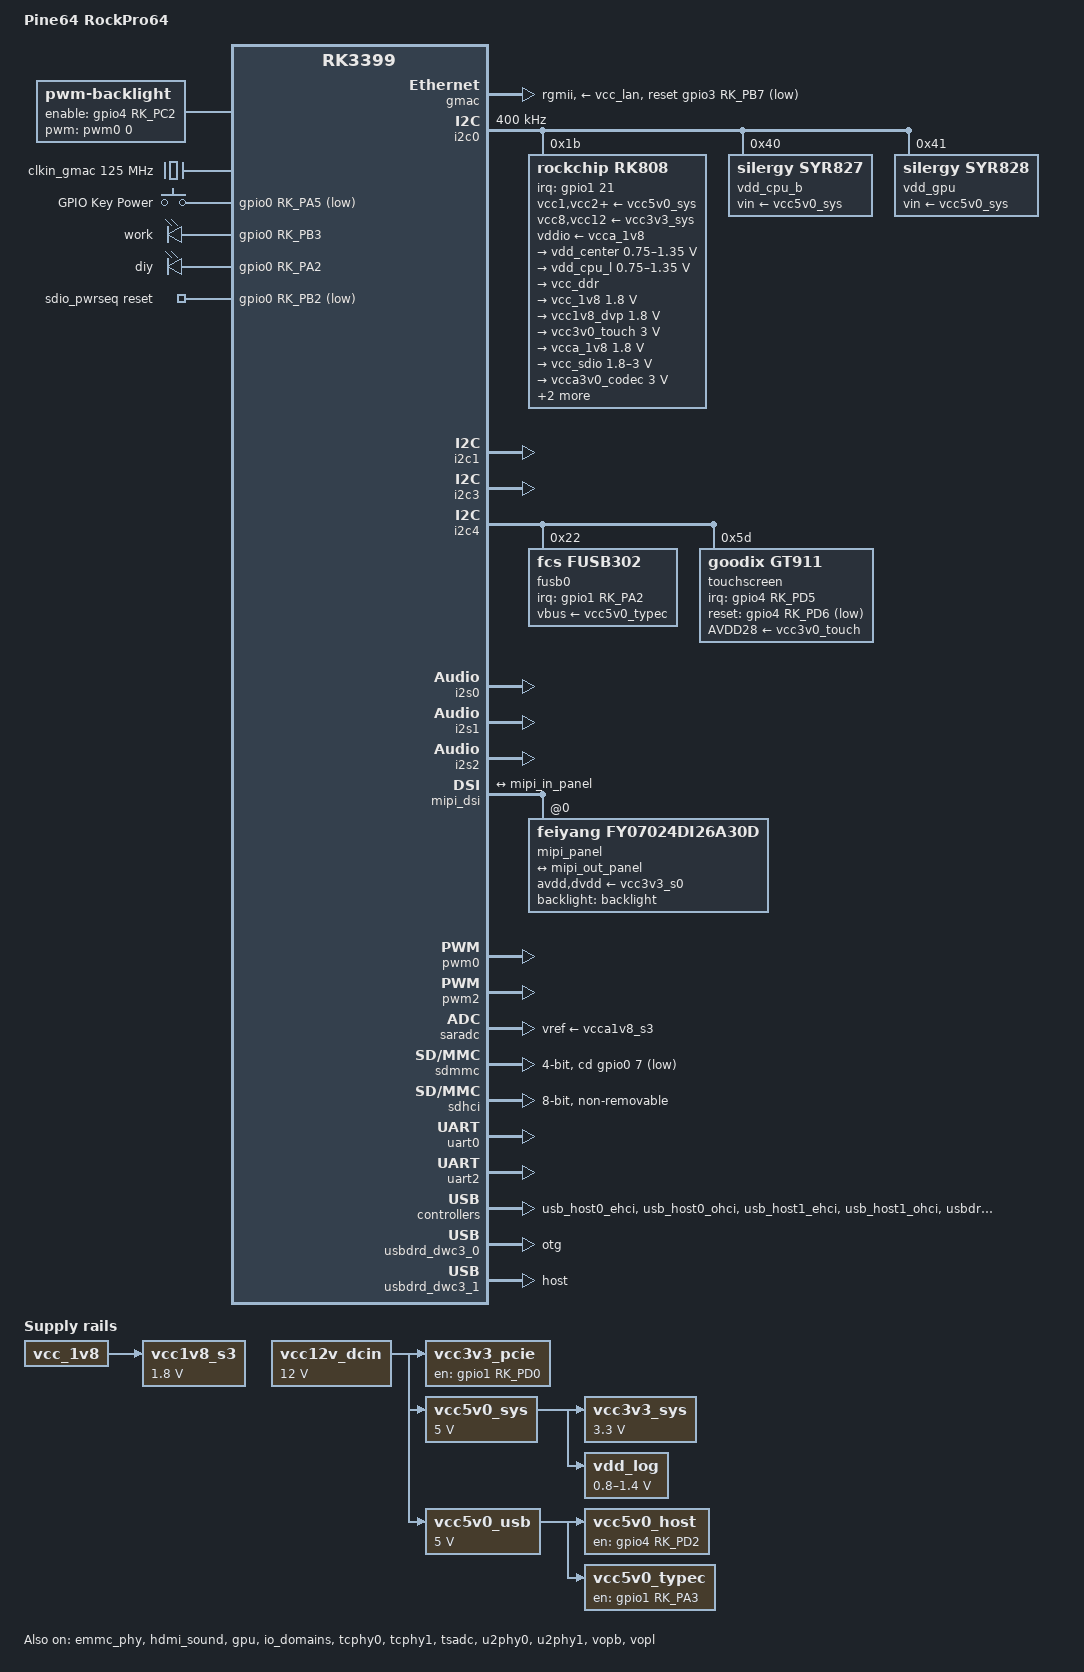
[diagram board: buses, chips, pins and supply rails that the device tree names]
// SPDX-License-Identifier: (GPL-2.0+ OR MIT)
/*
 * Copyright (c) 2017 Fuzhou Rockchip Electronics Co., Ltd.
 * Copyright (c) 2018 Akash Gajjar <Akash_Gajjar@mentor.com>
 */

/dts-v1/;
#include <dt-bindings/input/linux-event-codes.h>
#include <dt-bindings/pwm/pwm.h>
#include "rk3399.dtsi"
#include "rk3399-opp.dtsi"

/ {
	model = "Pine64 RockPro64";
	compatible = "pine64,rockpro64", "rockchip,rk3399";

	chosen {
		stdout-path = "serial2:1500000n8";
	};

	backlight: backlight {
		compatible = "pwm-backlight";
		brightness-levels = <0x0 0x1 0x2 0x3 0x4 0x5 0x6 0x7 0x8 0x9 0xa 0xb 0xc 0xd 0xe 0xf 0x10 0x11 0x12 0x13 0x14 0x15 0x16 0x17 0x18 0x19 0x1a 0x1b 0x1c 0x1d 0x1e 0x1f 0x20 0x21 0x22 0x23 0x24 0x25 0x26 0x27 0x28 0x29 0x2a 0x2b 0x2c 0x2d 0x2e 0x2f 0x30 0x31 0x32 0x33 0x34 0x35 0x36 0x37 0x38 0x39 0x3a 0x3b 0x3c 0x3d 0x3e 0x3f 0x40 0x41 0x42 0x43 0x44 0x45 0x46 0x47 0x48 0x49 0x4a 0x4b 0x4c 0x4d 0x4e 0x4f 0x50 0x51 0x52 0x53 0x54 0x55 0x56 0x57 0x58 0x59 0x5a 0x5b 0x5c 0x5d 0x5e 0x5f 0x60 0x61 0x62 0x63 0x64 0x65 0x66 0x67 0x68 0x69 0x6a 0x6b 0x6c 0x6d 0x6e 0x6f 0x70 0x71 0x72 0x73 0x74 0x75 0x76 0x77 0x78 0x79 0x7a 0x7b 0x7c 0x7d 0x7e 0x7f 0x80 0x81 0x82 0x83 0x84 0x85 0x86 0x87 0x88 0x89 0x8a 0x8b 0x8c 0x8d 0x8e 0x8f 0x90 0x91 0x92 0x93 0x94 0x95 0x96 0x97 0x98 0x99 0x9a 0x9b 0x9c 0x9d 0x9e 0x9f 0xa0 0xa1 0xa2 0xa3 0xa4 0xa5 0xa6 0xa7 0xa8 0xa9 0xaa 0xab 0xac 0xad 0xae 0xaf 0xb0 0xb1 0xb2 0xb3 0xb4 0xb5 0xb6 0xb7 0xb8 0xb9 0xba 0xbb 0xbc 0xbd 0xbe 0xbf 0xc0 0xc1 0xc2 0xc3 0xc4 0xc5 0xc6 0xc7 0xc8 0xc9 0xca 0xcb 0xcc 0xcd 0xce 0xcf 0xd0 0xd1 0xd2 0xd3 0xd4 0xd5 0xd6 0xd7 0xd8 0xd9 0xda 0xdb 0xdc 0xdd 0xde 0xdf 0xe0 0xe1 0xe2 0xe3 0xe4 0xe5 0xe6 0xe7 0xe8 0xe9 0xea 0xeb 0xec 0xed 0xee 0xef 0xf0 0xf1 0xf2 0xf3 0xf4 0xf5 0xf6 0xf7 0xf8 0xf9 0xfa 0xfb 0xfc 0xfd 0xfe 0xff>;
		default-brightness-level = <0xc8>;
		enable-gpios = <&gpio4 RK_PC2 GPIO_ACTIVE_HIGH>; /* LCD_BL_PWM: GPIO4_C2 */
		pwms = <&pwm0 0 25000 0>;
		status = "okay";
	};

	clkin_gmac: external-gmac-clock {
		compatible = "fixed-clock";
		clock-frequency = <125000000>;
		clock-output-names = "clkin_gmac";
		#clock-cells = <0>;
	};

	gpio-keys {
		compatible = "gpio-keys";
		autorepeat;
		pinctrl-names = "default";
		pinctrl-0 = <&pwrbtn>;

		power {
			debounce-interval = <100>;
			gpios = <&gpio0 RK_PA5 GPIO_ACTIVE_LOW>;
			label = "GPIO Key Power";
			linux,code = <KEY_POWER>;
			wakeup-source;
		};
	};

	leds {
		compatible = "gpio-leds";
		pinctrl-names = "default";
		pinctrl-0 = <&work_led_gpio>, <&diy_led_gpio>;

		work-led {
			label = "work";
			default-state = "on";
			gpios = <&gpio0 RK_PB3 GPIO_ACTIVE_HIGH>;
		};

		diy-led {
			label = "diy";
			default-state = "off";
			gpios = <&gpio0 RK_PA2 GPIO_ACTIVE_HIGH>;
		};
	};

	sdio_pwrseq: sdio-pwrseq {
		compatible = "mmc-pwrseq-simple";
		clocks = <&rk808 1>;
		clock-names = "ext_clock";
		pinctrl-names = "default";
		pinctrl-0 = <&wifi_enable_h>;

		/*
		 * On the module itself this is one of these (depending
		 * on the actual card populated):
		 * - SDIO_RESET_L_WL_REG_ON
		 * - PDN (power down when low)
		 */
		reset-gpios = <&gpio0 RK_PB2 GPIO_ACTIVE_LOW>;
	};

	vcc12v_dcin: vcc12v-dcin {
		compatible = "regulator-fixed";
		regulator-name = "vcc12v_dcin";
		regulator-always-on;
		regulator-boot-on;
		regulator-min-microvolt = <12000000>;
		regulator-max-microvolt = <12000000>;
	};

	/* switched by pmic_sleep */
	vcc1v8_s3: vcca1v8_s3: vcc1v8-s3 {
		compatible = "regulator-fixed";
		regulator-name = "vcc1v8_s3";
		regulator-always-on;
		regulator-boot-on;
		regulator-min-microvolt = <1800000>;
		regulator-max-microvolt = <1800000>;
		vin-supply = <&vcc_1v8>;
	};

	vcc3v3_pcie: vcc3v3-pcie-regulator {
		compatible = "regulator-fixed";
		enable-active-high;
		gpio = <&gpio1 RK_PD0 GPIO_ACTIVE_HIGH>;
		pinctrl-names = "default";
		pinctrl-0 = <&pcie_pwr_en>;
		regulator-name = "vcc3v3_pcie";
		regulator-always-on;
		regulator-boot-on;
		vin-supply = <&vcc12v_dcin>;
	};

	vcc3v3_sys: vcc3v3-sys {
		compatible = "regulator-fixed";
		regulator-name = "vcc3v3_sys";
		regulator-always-on;
		regulator-boot-on;
		regulator-min-microvolt = <3300000>;
		regulator-max-microvolt = <3300000>;
		vin-supply = <&vcc5v0_sys>;
	};

	/* Actually 3 regulators (host0, 1, 2) controlled by the same gpio */
	vcc5v0_host: vcc5v0-host-regulator {
		compatible = "regulator-fixed";
		enable-active-high;
		gpio = <&gpio4 RK_PD2 GPIO_ACTIVE_HIGH>;
		pinctrl-names = "default";
		pinctrl-0 = <&vcc5v0_host_en>;
		regulator-name = "vcc5v0_host";
		regulator-always-on;
		vin-supply = <&vcc5v0_usb>;
	};

	vcc5v0_typec: vcc5v0-typec-regulator {
		compatible = "regulator-fixed";
		enable-active-high;
		gpio = <&gpio1 RK_PA3 GPIO_ACTIVE_HIGH>;
		pinctrl-names = "default";
		pinctrl-0 = <&vcc5v0_typec_en>;
		regulator-name = "vcc5v0_typec";
		regulator-always-on;
		vin-supply = <&vcc5v0_usb>;
	};

	vcc5v0_sys: vcc5v0-sys {
		compatible = "regulator-fixed";
		regulator-name = "vcc5v0_sys";
		regulator-always-on;
		regulator-boot-on;
		regulator-min-microvolt = <5000000>;
		regulator-max-microvolt = <5000000>;
		vin-supply = <&vcc12v_dcin>;
	};

	vcc5v0_usb: vcc5v0-usb {
		compatible = "regulator-fixed";
		regulator-name = "vcc5v0_usb";
		regulator-always-on;
		regulator-boot-on;
		regulator-min-microvolt = <5000000>;
		regulator-max-microvolt = <5000000>;
		vin-supply = <&vcc12v_dcin>;
	};

	vdd_log: vdd-log {
		compatible = "pwm-regulator";
		pwms = <&pwm2 0 25000 1>;
		regulator-name = "vdd_log";
		regulator-always-on;
		regulator-boot-on;
		regulator-min-microvolt = <800000>;
		regulator-max-microvolt = <1400000>;
		vin-supply = <&vcc5v0_sys>;
	};
};

&cpu_l0 {
	cpu-supply = <&vdd_cpu_l>;
};

&cpu_l1 {
	cpu-supply = <&vdd_cpu_l>;
};

&cpu_l2 {
	cpu-supply = <&vdd_cpu_l>;
};

&cpu_l3 {
	cpu-supply = <&vdd_cpu_l>;
};

&cpu_b0 {
	cpu-supply = <&vdd_cpu_b>;
};

&cpu_b1 {
	cpu-supply = <&vdd_cpu_b>;
};

&emmc_phy {
	status = "okay";
};

&gmac {
	assigned-clocks = <&cru SCLK_RMII_SRC>;
	assigned-clock-parents = <&clkin_gmac>;
	clock_in_out = "input";
	phy-supply = <&vcc_lan>;
	phy-mode = "rgmii";
	pinctrl-names = "default";
	pinctrl-0 = <&rgmii_pins>;
	snps,reset-gpio = <&gpio3 RK_PB7 GPIO_ACTIVE_LOW>;
	snps,reset-active-low;
	snps,reset-delays-us = <0 10000 50000>;
	tx_delay = <0x28>;
	rx_delay = <0x11>;
	status = "okay";
};

&hdmi {
	ddc-i2c-bus = <&i2c3>;
	pinctrl-names = "default";
	pinctrl-0 = <&hdmi_cec>;
//	status = "okay";
};

&hdmi_sound {
	status = "okay";
};

&gpu {
	mali-supply = <&vdd_gpu>;
	status = "okay";
};

&i2c0 {
	clock-frequency = <400000>;
	i2c-scl-rising-time-ns = <168>;
	i2c-scl-falling-time-ns = <4>;
	status = "okay";

	rk808: pmic@1b {
		compatible = "rockchip,rk808";
		reg = <0x1b>;
		interrupt-parent = <&gpio1>;
		interrupts = <21 IRQ_TYPE_LEVEL_LOW>;
		#clock-cells = <1>;
		clock-output-names = "xin32k", "rk808-clkout2";
		pinctrl-names = "default";
		pinctrl-0 = <&pmic_int_l>;
		rockchip,system-power-controller;
		wakeup-source;

		vcc1-supply = <&vcc5v0_sys>;
		vcc2-supply = <&vcc5v0_sys>;
		vcc3-supply = <&vcc5v0_sys>;
		vcc4-supply = <&vcc5v0_sys>;
		vcc6-supply = <&vcc5v0_sys>;
		vcc7-supply = <&vcc5v0_sys>;
		vcc8-supply = <&vcc3v3_sys>;
		vcc9-supply = <&vcc5v0_sys>;
		vcc10-supply = <&vcc5v0_sys>;
		vcc11-supply = <&vcc5v0_sys>;
		vcc12-supply = <&vcc3v3_sys>;
		vddio-supply = <&vcca_1v8>;

		regulators {
			vdd_center: DCDC_REG1 {
				regulator-name = "vdd_center";
				regulator-always-on;
				regulator-boot-on;
				regulator-min-microvolt = <750000>;
				regulator-max-microvolt = <1350000>;
				regulator-ramp-delay = <6001>;
				regulator-state-mem {
					regulator-off-in-suspend;
				};
			};

			vdd_cpu_l: DCDC_REG2 {
				regulator-name = "vdd_cpu_l";
				regulator-always-on;
				regulator-boot-on;
				regulator-min-microvolt = <750000>;
				regulator-max-microvolt = <1350000>;
				regulator-ramp-delay = <6001>;
				regulator-state-mem {
					regulator-off-in-suspend;
				};
			};

			vcc_ddr: DCDC_REG3 {
				regulator-name = "vcc_ddr";
				regulator-always-on;
				regulator-boot-on;
				regulator-state-mem {
					regulator-on-in-suspend;
				};
			};

			vcc_1v8: DCDC_REG4 {
				regulator-name = "vcc_1v8";
				regulator-always-on;
				regulator-boot-on;
				regulator-min-microvolt = <1800000>;
				regulator-max-microvolt = <1800000>;
				regulator-state-mem {
					regulator-on-in-suspend;
					regulator-suspend-microvolt = <1800000>;
				};
			};

			vcc1v8_dvp: LDO_REG1 {
				regulator-name = "vcc1v8_dvp";
				regulator-always-on;
				regulator-boot-on;
				regulator-min-microvolt = <1800000>;
				regulator-max-microvolt = <1800000>;
				regulator-state-mem {
					regulator-off-in-suspend;
				};
			};

			vcc3v0_touch: LDO_REG2 {
				regulator-name = "vcc3v0_touch";
				regulator-always-on;
				regulator-boot-on;
				regulator-min-microvolt = <3000000>;
				regulator-max-microvolt = <3000000>;
				regulator-state-mem {
					regulator-off-in-suspend;
				};
			};

			vcca_1v8: LDO_REG3 {
				regulator-name = "vcca_1v8";
				regulator-always-on;
				regulator-boot-on;
				regulator-min-microvolt = <1800000>;
				regulator-max-microvolt = <1800000>;
				regulator-state-mem {
					regulator-on-in-suspend;
					regulator-suspend-microvolt = <1800000>;
				};
			};

			vcc_sdio: LDO_REG4 {
				regulator-name = "vcc_sdio";
				regulator-always-on;
				regulator-boot-on;
				regulator-min-microvolt = <1800000>;
				regulator-max-microvolt = <3000000>;
				regulator-state-mem {
					regulator-on-in-suspend;
					regulator-suspend-microvolt = <3000000>;
				};
			};

			vcca3v0_codec: LDO_REG5 {
				regulator-name = "vcca3v0_codec";
				regulator-always-on;
				regulator-boot-on;
				regulator-min-microvolt = <3000000>;
				regulator-max-microvolt = <3000000>;
				regulator-state-mem {
					regulator-off-in-suspend;
				};
			};

			vcc_1v5: LDO_REG6 {
				regulator-name = "vcc_1v5";
				regulator-always-on;
				regulator-boot-on;
				regulator-min-microvolt = <1500000>;
				regulator-max-microvolt = <1500000>;
				regulator-state-mem {
					regulator-on-in-suspend;
					regulator-suspend-microvolt = <1500000>;
				};
			};

			vcca1v8_codec: LDO_REG7 {
				regulator-name = "vcca1v8_codec";
				regulator-always-on;
				regulator-boot-on;
				regulator-min-microvolt = <1800000>;
				regulator-max-microvolt = <1800000>;
				regulator-state-mem {
					regulator-off-in-suspend;
				};
			};

			vcc_3v0: LDO_REG8 {
				regulator-name = "vcc_3v0";
				regulator-always-on;
				regulator-boot-on;
				regulator-min-microvolt = <3000000>;
				regulator-max-microvolt = <3000000>;
				regulator-state-mem {
					regulator-on-in-suspend;
					regulator-suspend-microvolt = <3000000>;
				};
			};

			vcc3v3_s3: vcc_lan: SWITCH_REG1 {
				regulator-name = "vcc3v3_s3";
				regulator-always-on;
				regulator-boot-on;
				regulator-state-mem {
					regulator-off-in-suspend;
				};
			};

			vcc3v3_s0: SWITCH_REG2 {
				regulator-name = "vcc3v3_s0";
				regulator-always-on;
				regulator-boot-on;
				regulator-state-mem {
					regulator-off-in-suspend;
				};
			};
		};
	};

	vdd_cpu_b: regulator@40 {
		compatible = "silergy,syr827";
		reg = <0x40>;
		fcs,suspend-voltage-selector = <1>;
		pinctrl-names = "default";
		pinctrl-0 = <&vsel1_gpio>;
		regulator-name = "vdd_cpu_b";
		regulator-min-microvolt = <712500>;
		regulator-max-microvolt = <1500000>;
		regulator-ramp-delay = <1000>;
		regulator-always-on;
		regulator-boot-on;
		vin-supply = <&vcc5v0_sys>;

		regulator-state-mem {
			regulator-off-in-suspend;
		};
	};

	vdd_gpu: regulator@41 {
		compatible = "silergy,syr828";
		reg = <0x41>;
		fcs,suspend-voltage-selector = <1>;
		pinctrl-names = "default";
		pinctrl-0 = <&vsel2_gpio>;
		regulator-name = "vdd_gpu";
		regulator-min-microvolt = <712500>;
		regulator-max-microvolt = <1500000>;
		regulator-ramp-delay = <1000>;
		regulator-always-on;
		regulator-boot-on;
		vin-supply = <&vcc5v0_sys>;

		regulator-state-mem {
			regulator-off-in-suspend;
		};
	};
};

&i2c1 {
	i2c-scl-rising-time-ns = <300>;
	i2c-scl-falling-time-ns = <15>;
	status = "okay";
};

&i2c3 {
	i2c-scl-rising-time-ns = <450>;
	i2c-scl-falling-time-ns = <15>;
	status = "okay";
};

&i2c4 {
	i2c-scl-rising-time-ns = <600>;
	i2c-scl-falling-time-ns = <20>;
	status = "okay";

	fusb0: typec-portc@22 {
		compatible = "fcs,fusb302";
		reg = <0x22>;
		interrupt-parent = <&gpio1>;
		interrupts = <RK_PA2 IRQ_TYPE_LEVEL_LOW>;
		pinctrl-names = "default";
		pinctrl-0 = <&fusb0_int>;
		vbus-supply = <&vcc5v0_typec>;
		status = "okay";
	};

	touchscreen@5d {
		compatible = "goodix,gt911";
		reg = <0x5d>;
		AVDD28-supply = <&vcc3v0_touch>;		/* VCC3V0_TOUCH */
		interrupt-parent = <&gpio4>;
		interrupts = <RK_PD5 IRQ_TYPE_EDGE_FALLING>;
		irq-gpio = <&gpio4 RK_PD5 GPIO_ACTIVE_HIGH>;    /* GPIO4_D5_INT */
		reset-gpio = <&gpio4 RK_PD6 GPIO_ACTIVE_LOW>;   /* GPIO4_D6_RST */
	};
};

&i2s0 {
	rockchip,playback-channels = <8>;
	rockchip,capture-channels = <8>;
	status = "okay";
};

&i2s1 {
	rockchip,playback-channels = <2>;
	rockchip,capture-channels = <2>;
	status = "okay";
};

&i2s2 {
	status = "okay";
};

&io_domains {
	status = "okay";

	bt656-supply = <&vcc1v8_dvp>;
	audio-supply = <&vcc_3v0>;
	sdmmc-supply = <&vcc_sdio>;
	gpio1830-supply = <&vcc_3v0>;
};

&mipi_dsi {
	status = "okay";
	clock-master;

	ports {
		mipi_out: port@1 {
			reg = <1>;

			mipi_out_panel: endpoint@0 {
				remote-endpoint = <&mipi_in_panel>;
			};
		};
	};

	mipi_panel: panel@0 {
		reg = <0>;
		compatible = "feiyang,fy07024di26a30d";
		avdd-supply = <&vcc3v3_s0>;	/* VCC3V3_S0 */
		dvdd-supply = <&vcc3v3_s0>;	/* VCC3V3_S0 */
		backlight = <&backlight>;

		ports {
			#address-cells = <1>;
			#size-cells = <0>;

			port@0 {
				reg = <0>;

				mipi_in_panel: endpoint {
					remote-endpoint = <&mipi_out_panel>;
				};
			};
		};
	};
};

&pmu_io_domains {
	pmu1830-supply = <&vcc_3v0>;
	status = "okay";
};

&pinctrl {
	buttons {
		pwrbtn: pwrbtn {
			rockchip,pins = <0 RK_PA5 RK_FUNC_GPIO &pcfg_pull_up>;
		};
	};

	fusb302x {
		fusb0_int: fusb0-int {
			rockchip,pins = <1 RK_PA2 RK_FUNC_GPIO &pcfg_pull_up>;
		};
	};

	leds {
		work_led_gpio: work_led-gpio {
			rockchip,pins = <0 RK_PB3 RK_FUNC_GPIO &pcfg_pull_none>;
		};

		diy_led_gpio: diy_led-gpio {
			rockchip,pins = <0 RK_PA2 RK_FUNC_GPIO &pcfg_pull_none>;
		};
	};

	pcie {
		pcie_pwr_en: pcie-pwr-en {
			rockchip,pins = <1 RK_PD0 RK_FUNC_GPIO &pcfg_pull_none>;
		};
	};

	pmic {
		pmic_int_l: pmic-int-l {
			rockchip,pins = <1 RK_PC5 RK_FUNC_GPIO &pcfg_pull_up>;
		};

		vsel1_gpio: vsel1-gpio {
			rockchip,pins = <1 RK_PC1 RK_FUNC_GPIO &pcfg_pull_down>;
		};

		vsel2_gpio: vsel2-gpio {
			rockchip,pins = <1 RK_PB6 RK_FUNC_GPIO &pcfg_pull_down>;
		};
	};

	sdio-pwrseq {
		wifi_enable_h: wifi-enable-h {
			rockchip,pins = <0 RK_PB2 RK_FUNC_GPIO &pcfg_pull_none>;
		};
	};

	usb-typec {
		vcc5v0_typec_en: vcc5v0_typec_en {
			rockchip,pins = <1 RK_PA3 RK_FUNC_GPIO &pcfg_pull_up>;
		};
	};

	usb2 {
		vcc5v0_host_en: vcc5v0-host-en {
			rockchip,pins = <4 RK_PD2 RK_FUNC_GPIO &pcfg_pull_none>;
		};
	};
};

&pwm0 {
	status = "okay";
};

&pwm2 {
	status = "okay";
};

&saradc {
	vref-supply = <&vcca1v8_s3>;
	status = "okay";
};

&sdmmc {
	bus-width = <4>;
	cap-mmc-highspeed;
	cap-sd-highspeed;
	cd-gpios = <&gpio0 7 GPIO_ACTIVE_LOW>;
	disable-wp;
	max-frequency = <150000000>;
	pinctrl-names = "default";
	pinctrl-0 = <&sdmmc_clk &sdmmc_cmd &sdmmc_bus4>;
	status = "okay";
};

&sdhci {
	bus-width = <8>;
	mmc-hs400-1_8v;
	mmc-hs400-enhanced-strobe;
	non-removable;
	status = "okay";
};

&tcphy0 {
	status = "okay";
};

&tcphy1 {
	status = "okay";
};

&tsadc {
	/* tshut mode 0:CRU 1:GPIO */
	rockchip,hw-tshut-mode = <1>;
	/* tshut polarity 0:LOW 1:HIGH */
	rockchip,hw-tshut-polarity = <1>;
	status = "okay";
};

&u2phy0 {
	status = "okay";

	u2phy0_otg: otg-port {
		status = "okay";
	};

	u2phy0_host: host-port {
		phy-supply = <&vcc5v0_host>;
		status = "okay";
	};
};

&u2phy1 {
	status = "okay";

	u2phy1_otg: otg-port {
		status = "okay";
	};

	u2phy1_host: host-port {
		phy-supply = <&vcc5v0_host>;
		status = "okay";
	};
};

&uart0 {
	pinctrl-names = "default";
	pinctrl-0 = <&uart0_xfer &uart0_cts>;
	status = "okay";
};

&uart2 {
	status = "okay";
};

&usb_host0_ehci {
	status = "okay";
};

&usb_host0_ohci {
	status = "okay";
};

&usb_host1_ehci {
	status = "okay";
};

&usb_host1_ohci {
	status = "okay";
};

&usbdrd3_0 {
	status = "okay";
};

&usbdrd_dwc3_0 {
	status = "okay";
	dr_mode = "otg";
};

&usbdrd3_1 {
	status = "okay";
};

&usbdrd_dwc3_1 {
	status = "okay";
	dr_mode = "host";
};

&vopb {
	status = "okay";
};

&vopb_mmu {
	status = "okay";
};

&vopl {
	status = "okay";
};

&vopl_mmu {
	status = "okay";
};
